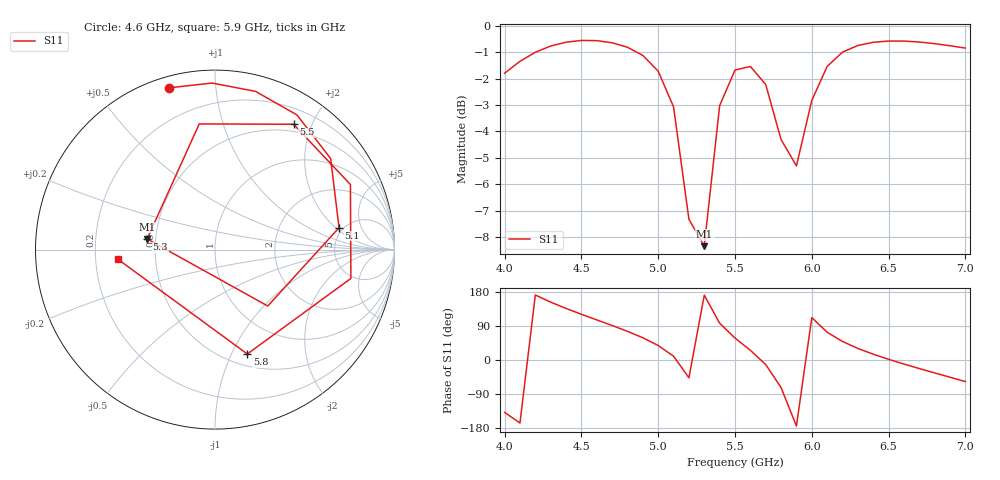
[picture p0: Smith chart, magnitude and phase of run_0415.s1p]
! Touchstone file exported from HFSS 2024.2.0
!  File:  C:/Users/wsak9/Desktop/Sim Fast/Widenad Patch/WP_AI_V1_sweep.aedt
!  Generated:  08:56:08 AM Oct 14, 2026
!  Design:  A1_model
!  Project:  WP_AI_V1_sweep
!  Setup:  Setup1
!  Solution:  Sweep
! Variables:
!  Air_gap = 3.91mm
!  Curve_Amp1 = 3.62
!  Curve_len1 = 1
!  Curve_pos = 11.02mm
!  Extra = 5.34mm
!  H_sub = 0.79mm
!  L_Patch = 18.04mm
!  L_Patch1 = 21.87mm
!  Sx = 1.19mm
!  Sy = 3.17mm
!  WS = 0.48mm
!  W_Patch = 12.57mm
!  W_Patch1 = 16.53mm
!Data is not renormalized
# GHz S MA
! Terminal data exported
! Port[1] = 1
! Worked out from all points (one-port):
!   31 points, 4 GHz to 7 GHz, reference per port
!   lowest |S11| = -8.3 dB at 5.3 GHz (marker M1), VSWR 2.24
!   |S11| at or under -10 dB: nowhere
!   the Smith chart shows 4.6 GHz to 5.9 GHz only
!   S11 on the Smith chart (normalised r, x): 4.6 GHz: 0.05, +0.76; 5.1 GHz: 4.60, +2.21; 5.3 GHz: 0.45, +0.06; 5.5 GHz: 0.40, +1.74; 5.8 GHz: 0.62, -1.15; 5.9 GHz: 0.30, -0.05
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4  0.8129 -138.2
4.1  0.8562 -166.3
4.2  0.8905 171.5
4.3  0.915 152.8
4.4  0.9304 136.1
4.5  0.9375 120.7
4.6  0.9368 105.8
4.7  0.9281 91.0
4.8  0.9101 75.6
4.9  0.8783 58.7
5  0.8202 38.2
5.1  0.7017 10.0
5.2  0.4304 -46.9
5.3  0.3828 171.1
5.4  0.7057 97.1
5.5  0.8243 57.9
5.6  0.8371 25.7
5.7  0.774 -12.0
5.8  0.6089 -72.8
5.9  0.543 -174.3
6  0.7219 111.9
6.1  0.8373 73.3
6.2  0.8911 48.9
6.3  0.9172 30.5
6.4  0.93 15.3
6.5  0.9351 1.8
6.7  0.9311 -22.6
7  0.9068 -57.0
